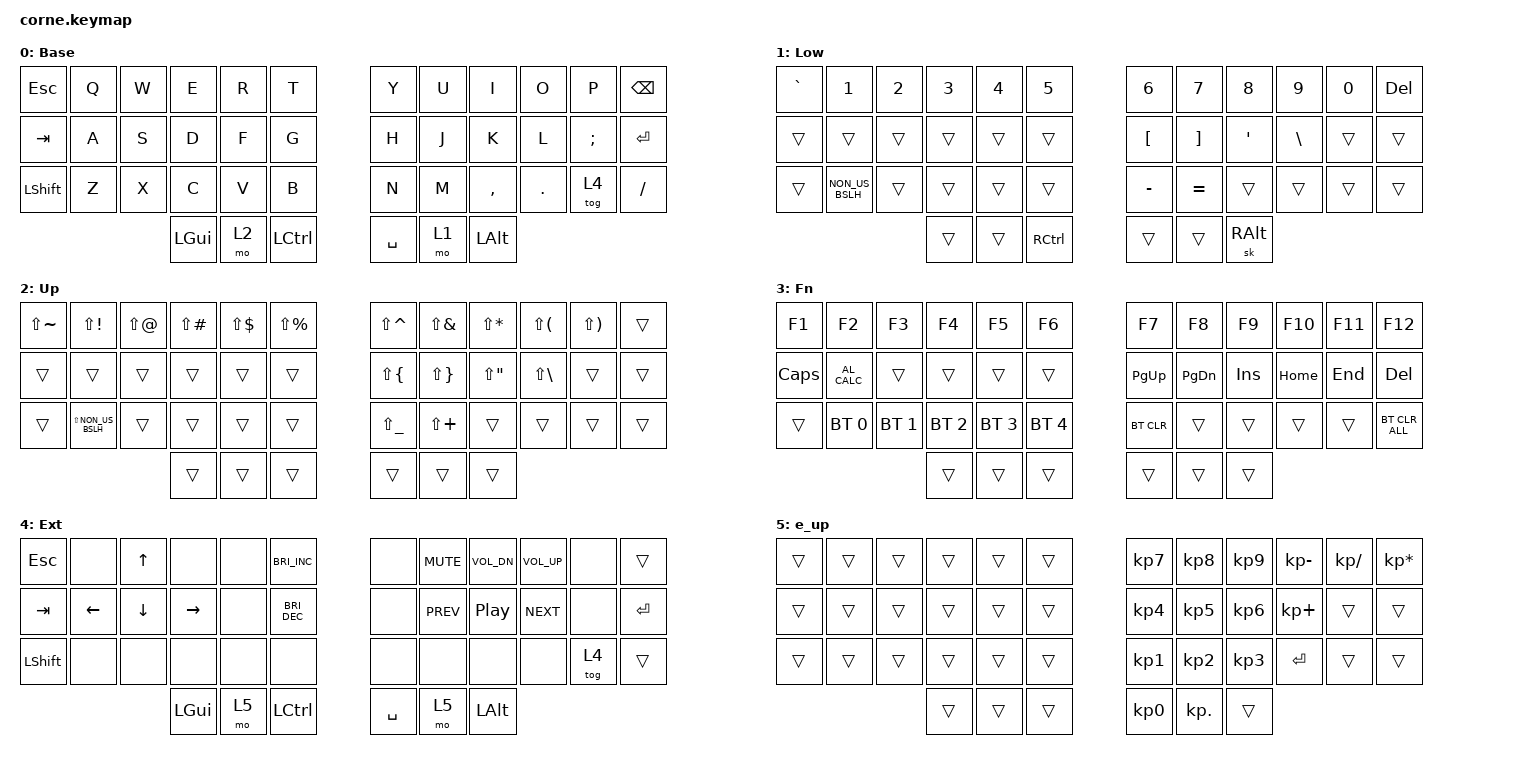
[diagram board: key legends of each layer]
/*
 * Copyright (c) 2020 The ZMK Contributors
 *
 * SPDX-License-Identifier: MIT
 */

#include <behaviors.dtsi>
#include <dt-bindings/zmk/bt.h>
#include <dt-bindings/zmk/keys.h>

/ {
    keymap {
        compatible = "zmk,keymap";

        base {
            // -----------------------------------------------------------------------------------------
            // |  TAB |  Q  |  W  |  E  |  R  |  T  |   |  Y  |  U   |  I  |  O  |  P  | BKSP |
            // | CTRL |  A  |  S  |  D  |  F  |  G  |   |  H  |  J   |  K  |  L  |  ;  |  '   |
            // | SHFT |  Z  |  X  |  C  |  V  |  B  |   |  N  |  M   |  ,  |  .  |  /  | ESC  |
            //                    | GUI | LWR | SPC |   | ENT | RSE  | ALT |

            bindings = <
&kp ESC    &kp Q  &kp W  &kp E     &kp R  &kp T        &kp Y      &kp U  &kp I         &kp O    &kp P     &kp BSPC
&kp TAB    &kp A  &kp S  &kp D     &kp F  &kp G        &kp H      &kp J  &kp K         &kp L    &kp SEMI  &kp RET
&kp LSHFT  &kp Z  &kp X  &kp C     &kp V  &kp B        &kp N      &kp M  &kp COMMA     &kp DOT  &tog 4    &kp FSLH
                         &kp LGUI  &mo 2  &kp LCTRL    &kp SPACE  &mo 1  &kp LEFT_ALT
            >;

            label = "Base";
        };

        lower {
            bindings = <
&kp GRAVE  &kp N1           &kp N2  &kp N3  &kp N4  &kp N5       &kp N6     &kp N7     &kp N8    &kp N9    &kp N0  &kp DEL
&trans     &trans           &trans  &trans  &trans  &trans       &kp LBKT   &kp RBKT   &kp SQT   &kp BSLH  &trans  &trans
&trans     &kp NON_US_BSLH  &trans  &trans  &trans  &trans       &kp MINUS  &kp EQUAL  &trans    &trans    &trans  &trans
                                    &trans  &trans  &kp RCTRL    &trans     &trans     &sk RALT
            >;

            label = "Low";
        };

        upper {
            bindings = <
&kp LS(TILDE)  &kp LS(EXCL)         &kp LS(AT)  &kp LS(POUND)  &kp LS(DLLR)  &kp LS(PRCNT)    &kp LS(CARET)  &kp LS(AMPS)  &kp LS(STAR)  &kp LS(LPAR)  &kp LS(RPAR)  &trans
&trans         &trans               &trans      &trans         &trans        &trans           &kp LS(LBRC)   &kp LS(RBRC)  &kp LS(DQT)   &kp LS(BSLH)  &trans        &trans
&trans         &kp LS(NON_US_BSLH)  &trans      &trans         &trans        &trans           &kp LS(UNDER)  &kp LS(PLUS)  &trans        &trans        &trans        &trans
                                                &trans         &trans        &trans           &trans         &trans        &trans
            >;

            label = "Up";
        };

        function {
            bindings = <
&kp F1        &kp F2         &kp F3        &kp F4        &kp F5        &kp F6          &kp F7      &kp F8     &kp F9   &kp F10   &kp F11  &kp F12
&kp CAPSLOCK  &kp C_AL_CALC  &trans        &trans        &trans        &trans          &kp PG_UP   &kp PG_DN  &kp INS  &kp HOME  &kp END  &kp DEL
&trans        &bt BT_SEL 0   &bt BT_SEL 1  &bt BT_SEL 2  &bt BT_SEL 3  &bt BT_SEL 4    &bt BT_CLR  &trans     &trans   &trans    &trans   &bt BT_CLR_ALL
                                           &trans        &trans        &trans          &trans      &trans     &trans
            >;

            label = "Fn";
        };

        extended {
            bindings = <
&kp ESCAPE      &none           &kp UP_ARROW    &none         &none  &kp C_BRIGHTNESS_INC    &none      &kp C_MUTE  &kp C_VOL_DN  &kp C_VOL_UP  &none   &trans
&kp TAB         &kp LEFT_ARROW  &kp DOWN_ARROW  &kp RIGHT     &none  &kp C_BRIGHTNESS_DEC    &none      &kp C_PREV  &kp C_PP      &kp C_NEXT    &none   &kp ENTER
&kp LEFT_SHIFT  &none           &none           &none         &none  &none                   &none      &none       &none         &none         &tog 4  &trans
                                                &kp LEFT_GUI  &mo 5  &kp LCTRL               &kp SPACE  &mo 5       &kp LEFT_ALT
            >;

            label = "Ext";
        };

        Extended_upper {
            bindings = <
&trans  &trans  &trans  &trans  &trans  &trans    &kp KP_N7        &kp KP_N8   &kp KP_N9  &kp KP_SUBTRACT  &kp KP_DIVIDE  &kp KP_MULTIPLY
&trans  &trans  &trans  &trans  &trans  &trans    &kp KP_N4        &kp KP_N5   &kp KP_N6  &kp KP_PLUS      &trans         &trans
&trans  &trans  &trans  &trans  &trans  &trans    &kp KP_NUMBER_1  &kp KP_N2   &kp KP_N3  &kp RET          &trans         &trans
                        &trans  &trans  &trans    &kp KP_N0        &kp KP_DOT  &trans
            >;

            label = "e_up";
        };
    };

    conditional_layers {
        compatible = "zmk,conditional-layers";

        Both {
            if-layers = <1 2>;
            then-layer = <3>;
        };
    };
};
